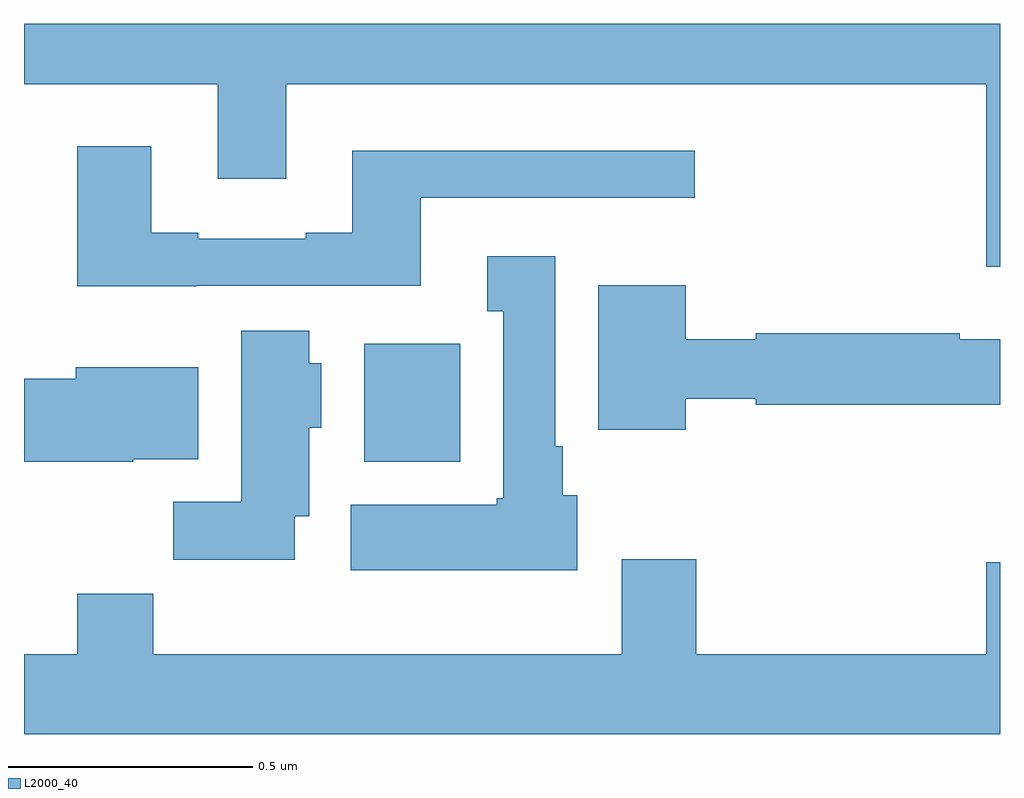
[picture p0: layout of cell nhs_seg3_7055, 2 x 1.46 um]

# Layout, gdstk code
import gdstk
lib = gdstk.Library(unit=1e-6, precision=1e-09)
def R(c, l, rs):  # rectangles x0, y0, x1, y1
    for r in rs: c.add(gdstk.rectangle(r[:2], r[2:], *l))
def P(c, l, *ps):  # polygons
    for p in ps: c.add(gdstk.Polygon(p, *l))
L2000_40 = (2000, 40)

nhs_seg3_7055 = lib.new_cell('nhs_seg3_7055')
R(nhs_seg3_7055, L2000_40, [(199.697,673.502,199.894,673.744)])
P(nhs_seg3_7055, L2000_40, [(201,674.4),(199,674.4),(199,674.276),(199.397,674.276),(199.397,674.082),(199.537,674.082),(199.537,674.276),(200.972,674.276),(200.972,673.902),(201,673.902)],
  [(199.353,673.863),(199.813,673.863),(199.813,674.043),(200.374,674.043),(200.374,674.14),(199.673,674.14),(199.673,673.972),(199.577,673.972),(199.577,673.959),(199.357,673.959),(199.357,673.972),(199.261,673.972),(199.261,674.149),(199.109,674.149),(199.109,673.862),(199.353,673.862)],
  [(200.134,673.434),(200.104,673.434),(200.104,673.534),(200.089,673.534),(200.089,673.924),(199.949,673.924),(199.949,673.811),(199.982,673.811),(199.982,673.428),(199.969,673.428),(199.969,673.414),(199.67,673.414),(199.67,673.28),(200.134,673.28)],
  [(200.356,673.632),(200.499,673.632),(200.499,673.619),(201,673.619),(201,673.753),(200.918,673.753),(200.918,673.766),(200.499,673.766),(200.499,673.753),(200.356,673.753),(200.356,673.864),(200.177,673.864),(200.177,673.568),(200.356,673.568)],
  [(199.555,673.391),(199.585,673.391),(199.585,673.572),(199.609,673.572),(199.609,673.704),(199.585,673.704),(199.585,673.771),(199.445,673.771),(199.445,673.42),(199.306,673.42),(199.306,673.302),(199.555,673.302)],
  [(199.224,673.508),(199.357,673.508),(199.357,673.696),(199.106,673.696),(199.106,673.673),(199,673.673),(199,673.502),(199.224,673.502)],
  [(201,673.297),(200.972,673.297),(200.972,673.108),(200.378,673.108),(200.378,673.303),(200.225,673.303),(200.225,673.108),(199.265,673.108),(199.265,673.232),(199.109,673.232),(199.109,673.108),(199,673.108),(199,672.944),(201,672.944)])

lib.write_gds('nhs_seg3_7055.gds')
